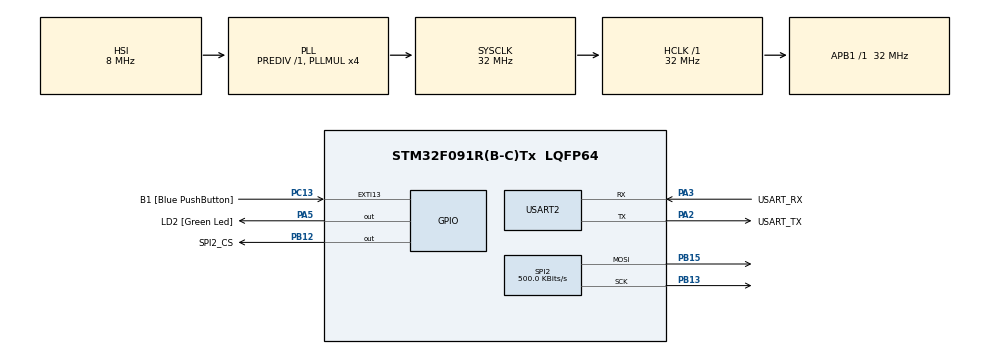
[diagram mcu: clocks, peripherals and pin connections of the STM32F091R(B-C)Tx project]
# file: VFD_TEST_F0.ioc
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Mcu.Family=STM32F0
Mcu.Name=STM32F091R(B-C)Tx
Mcu.Package=LQFP64
NVIC.TIM14_IRQn=true\:0\:0\:false\:false\:true\:true\:true\:true
PA13.GPIO_Label=TMS
PA13.Mode=Serial_Wire
PA13.Signal=SYS_SWDIO
PA14.GPIO_Label=TCK
PA14.Mode=Serial_Wire
PA14.Signal=SYS_SWCLK
PA2.GPIO_Label=USART_TX
PA2.GPIO_Mode=GPIO_MODE_AF_PP
PA2.GPIO_PuPd=GPIO_NOPULL
PA2.GPIO_Speed=GPIO_SPEED_FREQ_LOW
PA2.Mode=Asynchronous
PA2.Signal=USART2_TX
PA3.GPIO_Label=USART_RX
PA3.GPIO_Mode=GPIO_MODE_AF_PP
PA3.GPIO_PuPd=GPIO_NOPULL
PA3.GPIO_Speed=GPIO_SPEED_FREQ_LOW
PA3.Mode=Asynchronous
PA3.Signal=USART2_RX
PA5.GPIO_Label=LD2 [Green Led]
PA5.GPIO_Mode=GPIO_MODE_OUTPUT_PP
PA5.GPIO_PuPd=GPIO_NOPULL
PA5.GPIO_Speed=GPIO_SPEED_FREQ_LOW
PA5.Signal=GPIO_Output
PB12.GPIO_Label=SPI2_CS
PB12.GPIO_Speed=GPIO_SPEED_FREQ_HIGH
PB12.PinState=GPIO_PIN_SET
PB12.Signal=GPIO_Output
PB13.Mode=TX_Only_Simplex_Unidirect_Master
PB13.Signal=SPI2_SCK
PB15.Mode=TX_Only_Simplex_Unidirect_Master
PB15.Signal=SPI2_MOSI
PC13.GPIO_Label=B1 [Blue PushButton]
PC13.GPIO_ModeDefaultEXTI=GPIO_MODE_IT_FALLING
PC13.Signal=GPXTI13
PC14OSC32_IN.Mode=LSE-External-Oscillator
PC14OSC32_IN.Signal=RCC_OSC32_IN
PC15OSC32_OUT.Mode=LSE-External-Oscillator
PC15OSC32_OUT.Signal=RCC_OSC32_OUT
PF0-OSC_IN.Mode=HSE-External-Clock-Source
PF0-OSC_IN.Signal=RCC_OSC_IN
PF1-OSC_OUT.Signal=RCC_OSC_OUT
ProjectManager.HeapSize=0x200
ProjectManager.StackSize=0x400
ProjectManager.TargetToolchain=STM32CubeIDE
RCC.AHBFreq_Value=32000000
RCC.APB1Freq_Value=32000000
RCC.APB1TimFreq_Value=32000000
RCC.FLatency-AdvancedSettings=FLASH_LATENCY_1
RCC.HCLKFreq_Value=32000000
RCC.PLLMUL=RCC_PLL_MUL4
RCC.PREFETCH_ENABLE-AdvancedSettings=1
RCC.SYSCLKFreq_VALUE=32000000
RCC.SYSCLKSource=RCC_SYSCLKSOURCE_PLLCLK
SPI2.BaudRatePrescaler=SPI_BAUDRATEPRESCALER_64
SPI2.CLKPhase=SPI_PHASE_2EDGE
SPI2.CLKPolarity=SPI_POLARITY_HIGH
SPI2.CalculateBaudRate=500.0 KBits/s
SPI2.DataSize=SPI_DATASIZE_8BIT
SPI2.Direction=SPI_DIRECTION_2LINES
SPI2.FirstBit=SPI_FIRSTBIT_LSB
SPI2.Mode=SPI_MODE_MASTER
SPI2.VirtualType=VM_MASTER
TIM14.AutoReloadPreload=TIM_AUTORELOAD_PRELOAD_ENABLE
TIM14.Period=53333-1
TIM14.Prescaler=300-1
USART2.VirtualMode=VM_ASYNC
USART2.VirtualMode-Asynchronous=VM_ASYNC
VP_TIM14_VS_ClockSourceINT.Mode=Enable_Timer
board=NUCLEO-F091RC

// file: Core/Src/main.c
/* USER CODE BEGIN Header */
/**
  ******************************************************************************
  * @file           : main.c
  * @brief          : Main program body
  ******************************************************************************
  * @attention
  *
  * Copyright (c) 2024 STMicroelectronics.
  * All rights reserved.
  *
  * This software is licensed under terms that can be found in the LICENSE file
  * in the root directory of this software component.
  * If no LICENSE file comes with this software, it is provided AS-IS.
  *
  ******************************************************************************
  */
/* USER CODE END Header */
#include "main.h"

/* USER CODE BEGIN PM */
#define SYSTICK_LOAD (SystemCoreClock/1000000U)
#define SYSTICK_DELAY_CALIB (SYSTICK_LOAD >> 1)

#define DELAY_US(us) \
    do { \
         uint32_t start = SysTick->VAL; \
         uint32_t ticks = (us * SYSTICK_LOAD)-SYSTICK_DELAY_CALIB;  \
         while((start - SysTick->VAL) < ticks); \
    } while (0)
/* USER CODE END PM */

SPI_HandleTypeDef hspi2;

TIM_HandleTypeDef htim14;

UART_HandleTypeDef huart2;

void SystemClock_Config(void);
static void MX_GPIO_Init(void);
static void MX_USART2_UART_Init(void);
static void MX_TIM14_Init(void);
static void MX_SPI2_Init(void);

/* USER CODE BEGIN 0 */
static void serial_prepare_write()
{
  DELAY_US(1);
  HAL_GPIO_WritePin(SPI2_CS_GPIO_Port, SPI2_CS_Pin, GPIO_PIN_RESET);
}

static void serial_end_write()
{
  HAL_GPIO_WritePin(SPI2_CS_GPIO_Port, SPI2_CS_Pin, GPIO_PIN_SET);
  DELAY_US(1);
}

static void serial_write_byte(uint8_t byte)
{
  HAL_SPI_Transmit(&hspi2, &byte, 1, 2);
}

static void serial_write(uint8_t* data, uint8_t size)
{
  serial_prepare_write();
  for (uint8_t i = 0; i < size; i++)
    serial_write_byte(data[i]);
  serial_end_write();
}

void PT6315_Write_Cmd(uint8_t cmd)
{
  serial_write(&cmd, sizeof(cmd));
}

void PT6315_Write_Byte(uint8_t addr, uint8_t byte)
{
  uint8_t data[] = { 0xC0 | (addr & 0x3F), byte };
  serial_write(data, sizeof(data));
}

// up to 36 bytes
void PT6315_Write_Data(uint8_t addr, uint8_t* data, uint8_t size)
{
  serial_prepare_write();
  uint8_t cmd3 = 0xC0 | (addr & 0x3F);
  serial_write_byte(cmd3);
  for (uint8_t i = 0; i < size; i++)
    serial_write_byte(data[i]);
  serial_end_write();
}

void PT6315_Init()
{
  uint8_t data[] = {
      0xC0 | 0x00, 0x0F, 0x00,
      0x14 | 0x03, 0xA0, 0x00,
      0x48 | 0x00, 0x44, 0x00,
      0xC0 | 0x00, 0x8F, 0x00,
      0xE0 | 0x00, 0x1C, 0x00,
      0xC4 | 0x00, 0x8C, 0x00,
      0x00 | 0x00, 0x00, 0x00,
      0x00 | 0x00, 0x00, 0x00,
      0x00 | 0x00, 0x00, 0x00,
      0x00 | 0x00, 0x00, 0x00,
      0x00 | 0x00, 0x00, 0x00,
      0x00 | 0x00, 0x00, 0x00,
  };
  PT6315_Write_Cmd(0x40 | 0x00);		// cmd2, 0x08 - test mode
  PT6315_Write_Data(0x00, data, sizeof(data));	// set display data
  PT6315_Write_Cmd(0x00 | 0x08);		// cmd1, 12 digits, 16 segments
  PT6315_Write_Cmd(0x80 | 0x08);		// cmd4, 0x08 - display ON
}
/* USER CODE END 0 */

int main(void)
{

  /* USER CODE BEGIN 1 */
  int8_t b = 0;
  int8_t d = 1;
  /* USER CODE END 1 */

  /* MCU Configuration--------------------------------------------------------*/

  /* Reset of all peripherals, Initializes the Flash interface and the Systick. */
  HAL_Init();

  /* Configure the system clock */
  SystemClock_Config();

  /* USER CODE BEGIN SysInit */
  HAL_Delay(200);
  /* USER CODE END SysInit */

  /* Initialize all configured peripherals */
  MX_GPIO_Init();
  MX_USART2_UART_Init();
  MX_TIM14_Init();
  MX_SPI2_Init();
  /* USER CODE BEGIN 2 */
  HAL_TIM_Base_Start_IT(&htim14);
  PT6315_Init();
  /* USER CODE END 2 */

  /* Infinite loop */
  /* USER CODE BEGIN WHILE */
  while (1)
  {
    PT6315_Write_Cmd(0x80 | 0x08 | b);
    /* USER CODE END WHILE */

    /* USER CODE BEGIN 3 */
    b += d;
    if (b <= 0 || b >= 7) d = -d;
    HAL_Delay(150);
  }
  /* USER CODE END 3 */
}

void SystemClock_Config(void)
{
  RCC_OscInitTypeDef RCC_OscInitStruct = {0};
  RCC_ClkInitTypeDef RCC_ClkInitStruct = {0};
  RCC_PeriphCLKInitTypeDef PeriphClkInit = {0};

  /** Initializes the RCC Oscillators according to the specified parameters
  * in the RCC_OscInitTypeDef structure.
  */
  RCC_OscInitStruct.OscillatorType = RCC_OSCILLATORTYPE_HSI;
  RCC_OscInitStruct.HSIState = RCC_HSI_ON;
  RCC_OscInitStruct.HSICalibrationValue = RCC_HSICALIBRATION_DEFAULT;
  RCC_OscInitStruct.PLL.PLLState = RCC_PLL_ON;
  RCC_OscInitStruct.PLL.PLLSource = RCC_PLLSOURCE_HSI;
  RCC_OscInitStruct.PLL.PLLMUL = RCC_PLL_MUL4;
  RCC_OscInitStruct.PLL.PREDIV = RCC_PREDIV_DIV1;
  if (HAL_RCC_OscConfig(&RCC_OscInitStruct) != HAL_OK)
  {
    Error_Handler();
  }

  /** Initializes the CPU, AHB and APB buses clocks
  */
  RCC_ClkInitStruct.ClockType = RCC_CLOCKTYPE_HCLK|RCC_CLOCKTYPE_SYSCLK
                              |RCC_CLOCKTYPE_PCLK1;
  RCC_ClkInitStruct.SYSCLKSource = RCC_SYSCLKSOURCE_PLLCLK;
  RCC_ClkInitStruct.AHBCLKDivider = RCC_SYSCLK_DIV1;
  RCC_ClkInitStruct.APB1CLKDivider = RCC_HCLK_DIV1;

  if (HAL_RCC_ClockConfig(&RCC_ClkInitStruct, FLASH_LATENCY_1) != HAL_OK)
  {
    Error_Handler();
  }
  PeriphClkInit.PeriphClockSelection = RCC_PERIPHCLK_USART2;
  PeriphClkInit.Usart2ClockSelection = RCC_USART2CLKSOURCE_PCLK1;
  if (HAL_RCCEx_PeriphCLKConfig(&PeriphClkInit) != HAL_OK)
  {
    Error_Handler();
  }
}

static void MX_SPI2_Init(void)
{

  /* SPI2 parameter configuration*/
  hspi2.Instance = SPI2;
  hspi2.Init.Mode = SPI_MODE_MASTER;
  hspi2.Init.Direction = SPI_DIRECTION_2LINES;
  hspi2.Init.DataSize = SPI_DATASIZE_8BIT;
  hspi2.Init.CLKPolarity = SPI_POLARITY_HIGH;
  hspi2.Init.CLKPhase = SPI_PHASE_2EDGE;
  hspi2.Init.NSS = SPI_NSS_SOFT;
  hspi2.Init.BaudRatePrescaler = SPI_BAUDRATEPRESCALER_64;
  hspi2.Init.FirstBit = SPI_FIRSTBIT_LSB;
  hspi2.Init.TIMode = SPI_TIMODE_DISABLE;
  hspi2.Init.CRCCalculation = SPI_CRCCALCULATION_DISABLE;
  hspi2.Init.CRCPolynomial = 7;
  hspi2.Init.CRCLength = SPI_CRC_LENGTH_DATASIZE;
  hspi2.Init.NSSPMode = SPI_NSS_PULSE_DISABLE;
  if (HAL_SPI_Init(&hspi2) != HAL_OK)
  {
    Error_Handler();
  }

}

static void MX_TIM14_Init(void)
{

  htim14.Instance = TIM14;
  htim14.Init.Prescaler = 300-1;
  htim14.Init.CounterMode = TIM_COUNTERMODE_UP;
  htim14.Init.Period = 53333-1;
  htim14.Init.ClockDivision = TIM_CLOCKDIVISION_DIV1;
  htim14.Init.AutoReloadPreload = TIM_AUTORELOAD_PRELOAD_ENABLE;
  if (HAL_TIM_Base_Init(&htim14) != HAL_OK)
  {
    Error_Handler();
  }

}

static void MX_USART2_UART_Init(void)
{

  huart2.Instance = USART2;
  huart2.Init.BaudRate = 115200;
  huart2.Init.WordLength = UART_WORDLENGTH_8B;
  huart2.Init.StopBits = UART_STOPBITS_1;
  huart2.Init.Parity = UART_PARITY_NONE;
  huart2.Init.Mode = UART_MODE_TX_RX;
  huart2.Init.HwFlowCtl = UART_HWCONTROL_NONE;
  huart2.Init.OverSampling = UART_OVERSAMPLING_16;
  huart2.Init.OneBitSampling = UART_ONE_BIT_SAMPLE_DISABLE;
  huart2.AdvancedInit.AdvFeatureInit = UART_ADVFEATURE_NO_INIT;
  if (HAL_UART_Init(&huart2) != HAL_OK)
  {
    Error_Handler();
  }

}

static void MX_GPIO_Init(void)
{
  GPIO_InitTypeDef GPIO_InitStruct = {0};

  /* GPIO Ports Clock Enable */
  __HAL_RCC_GPIOC_CLK_ENABLE();
  __HAL_RCC_GPIOF_CLK_ENABLE();
  __HAL_RCC_GPIOA_CLK_ENABLE();
  __HAL_RCC_GPIOB_CLK_ENABLE();

  /*Configure GPIO pin Output Level */
  HAL_GPIO_WritePin(LD2_GPIO_Port, LD2_Pin, GPIO_PIN_RESET);

  /*Configure GPIO pin Output Level */
  HAL_GPIO_WritePin(SPI2_CS_GPIO_Port, SPI2_CS_Pin, GPIO_PIN_SET);

  /*Configure GPIO pin : B1_Pin */
  GPIO_InitStruct.Pin = B1_Pin;
  GPIO_InitStruct.Mode = GPIO_MODE_IT_FALLING;
  GPIO_InitStruct.Pull = GPIO_NOPULL;
  HAL_GPIO_Init(B1_GPIO_Port, &GPIO_InitStruct);

  /*Configure GPIO pin : LD2_Pin */
  GPIO_InitStruct.Pin = LD2_Pin;
  GPIO_InitStruct.Mode = GPIO_MODE_OUTPUT_PP;
  GPIO_InitStruct.Pull = GPIO_NOPULL;
  GPIO_InitStruct.Speed = GPIO_SPEED_FREQ_LOW;
  HAL_GPIO_Init(LD2_GPIO_Port, &GPIO_InitStruct);

  /*Configure GPIO pin : SPI2_CS_Pin */
  GPIO_InitStruct.Pin = SPI2_CS_Pin;
  GPIO_InitStruct.Mode = GPIO_MODE_OUTPUT_PP;
  GPIO_InitStruct.Pull = GPIO_NOPULL;
  GPIO_InitStruct.Speed = GPIO_SPEED_FREQ_HIGH;
  HAL_GPIO_Init(SPI2_CS_GPIO_Port, &GPIO_InitStruct);

}

/* USER CODE BEGIN 4 */
void HAL_TIM_PeriodElapsedCallback(TIM_HandleTypeDef *htim)
{
  HAL_GPIO_TogglePin(LD2_GPIO_Port, LD2_Pin);
}
/* USER CODE END 4 */

void Error_Handler(void)
{
  __disable_irq();
  while (1)
  {
  }
}
